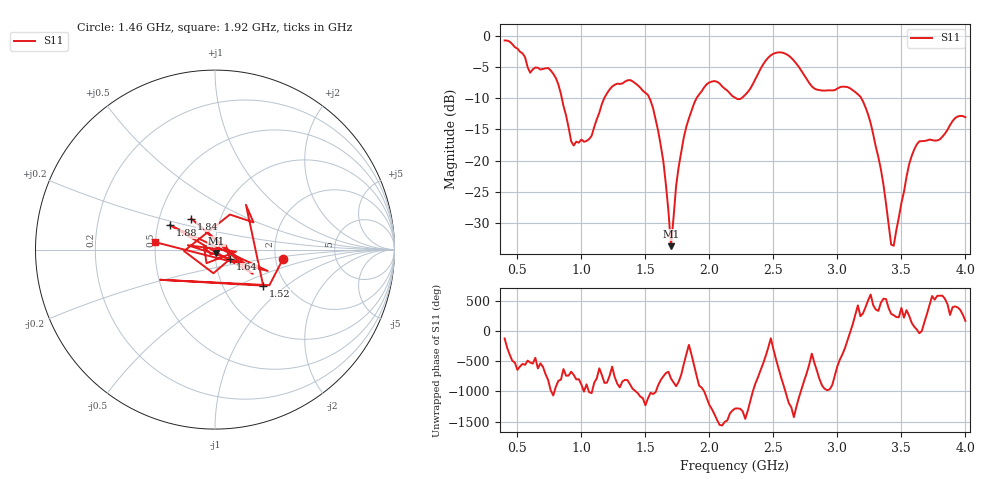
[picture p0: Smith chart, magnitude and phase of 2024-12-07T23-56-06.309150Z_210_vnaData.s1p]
!Created with skrf (http://scikit-rf.org).
# Hz S RI R 50.0
!freq ReS11 ImS11
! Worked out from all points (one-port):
!   181 points, 400 MHz to 4 GHz, reference 50 ohm
!   lowest |S11| = -33.7 dB at 1.7 GHz (marker M1), VSWR 1.04, Z = 50.7 - j1.97 ohm
!   |S11| at or under -10 dB: 846.9 MHz to 1.179 GHz (331.8 MHz wide, 32.8 % of centre); 1.532 GHz to 1.9 GHz (367.9 MHz wide, 21.4 % of centre); 3.186 GHz to end of sweep (the widest 3 of 4)
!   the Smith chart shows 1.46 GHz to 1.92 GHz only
!   S11 on the Smith chart (normalised r, x): 1.46 GHz: 2.21, -0.26; 1.52 GHz: 1.54, -0.70; 1.64 GHz: 1.17, -0.13; 1.84 GHz: 0.73, +0.26; 1.88 GHz: 0.58, +0.17; 1.92 GHz: 0.50, +0.05
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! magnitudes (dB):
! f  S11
! 400 MHz  -0.8
! 600 MHz  -5.9
! 760 MHz  -5.6
! 860 MHz  -11.3
! 940 MHz  -17.6
! 1.04 GHz  -16.8
! 1.3 GHz  -7.7
! 1.46 GHz  -8.3
! 1.52 GHz  -9.5
! 1.64 GHz  -20.1
! 1.7 GHz  -33.7
! 1.76 GHz  -21.0
! 1.84 GHz  -13.2
! 1.88 GHz  -10.9
! 1.92 GHz  -9.4
! 2.04 GHz  -7.3
! 2.2 GHz  -9.9
! 2.48 GHz  -3.1
! 2.66 GHz  -4.0
! 2.82 GHz  -8.5
! 3.1 GHz  -8.4
! 3.26 GHz  -14.0
! 3.34 GHz  -21.4
! 3.42 GHz  -33.4
! 3.44 GHz  -33.6
! 3.56 GHz  -20.6
! 3.64 GHz  -16.9
! 4 GHz  -13.1
